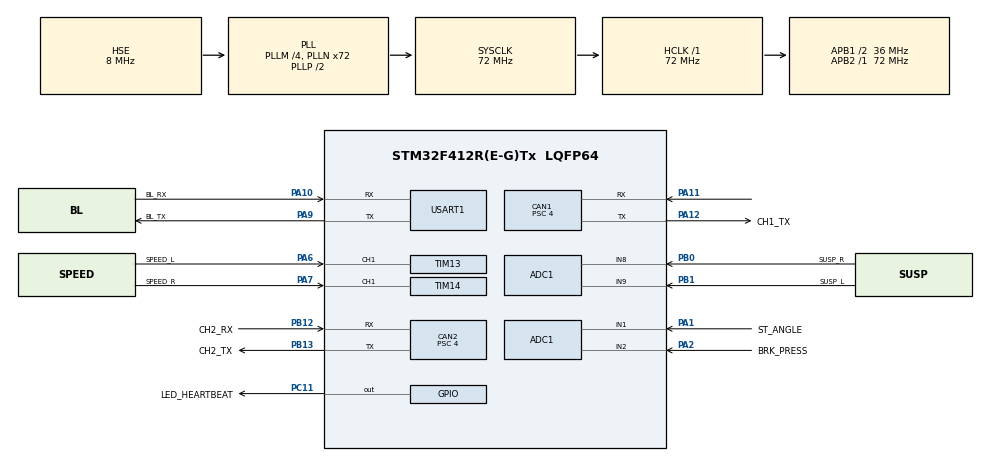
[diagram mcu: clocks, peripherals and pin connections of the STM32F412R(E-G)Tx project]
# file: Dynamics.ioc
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ADC1.Channel-0\#ChannelRegularConversion=ADC_CHANNEL_1
ADC1.Channel-1\#ChannelRegularConversion=ADC_CHANNEL_2
ADC1.Channel-2\#ChannelRegularConversion=ADC_CHANNEL_8
ADC1.Channel-3\#ChannelRegularConversion=ADC_CHANNEL_9
ADC1.ContinuousConvMode=ENABLE
ADC1.DMAContinuousRequests=ENABLE
ADC1.NbrOfConversion=4
ADC1.NbrOfConversionFlag=1
ADC1.Rank-0\#ChannelRegularConversion=1
ADC1.Rank-1\#ChannelRegularConversion=2
ADC1.Rank-2\#ChannelRegularConversion=3
ADC1.Rank-3\#ChannelRegularConversion=4
ADC1.SamplingTime-0\#ChannelRegularConversion=ADC_SAMPLETIME_480CYCLES
ADC1.SamplingTime-1\#ChannelRegularConversion=ADC_SAMPLETIME_480CYCLES
ADC1.SamplingTime-2\#ChannelRegularConversion=ADC_SAMPLETIME_480CYCLES
ADC1.SamplingTime-3\#ChannelRegularConversion=ADC_SAMPLETIME_480CYCLES
ADC1.ScanConvMode=ENABLE
ADC1.master=1
CAN1.ABOM=ENABLE
CAN1.BS1=CAN_BS1_7TQ
CAN1.CalculateBaudRate=1000000
CAN1.CalculateTimeBit=1000
CAN1.CalculateTimeQuantum=111.11111111111111
CAN1.Prescaler=4
CAN2.ABOM=ENABLE
CAN2.BS1=CAN_BS1_7TQ
CAN2.CalculateBaudRate=1000000
CAN2.CalculateTimeBit=1000
CAN2.CalculateTimeQuantum=111.11111111111111
CAN2.Prescaler=4
Dma.ADC1.0.Direction=DMA_PERIPH_TO_MEMORY
Dma.ADC1.0.FIFOMode=DMA_FIFOMODE_DISABLE
Dma.ADC1.0.Instance=DMA2_Stream0
Dma.ADC1.0.MemDataAlignment=DMA_MDATAALIGN_HALFWORD
Dma.ADC1.0.MemInc=DMA_MINC_ENABLE
Dma.ADC1.0.Mode=DMA_CIRCULAR
Dma.ADC1.0.PeriphDataAlignment=DMA_PDATAALIGN_HALFWORD
Dma.ADC1.0.PeriphInc=DMA_PINC_DISABLE
Dma.ADC1.0.Priority=DMA_PRIORITY_LOW
Dma.Request0=ADC1
IWDG.Prescaler=IWDG_PRESCALER_64
IWDG.Reload=1000
Mcu.Family=STM32F4
Mcu.Name=STM32F412R(E-G)Tx
Mcu.Package=LQFP64
NVIC.CAN1_RX0_IRQn=true\:0\:0\:false\:false\:true\:true\:true\:true
NVIC.CAN1_RX1_IRQn=true\:0\:0\:false\:false\:true\:true\:true\:true
NVIC.CAN1_SCE_IRQn=true\:0\:0\:false\:false\:true\:true\:true\:true
NVIC.CAN1_TX_IRQn=true\:0\:0\:false\:false\:true\:true\:true\:true
NVIC.CAN2_RX0_IRQn=true\:0\:0\:false\:false\:true\:true\:true\:true
NVIC.CAN2_RX1_IRQn=true\:0\:0\:false\:false\:true\:true\:true\:true
NVIC.CAN2_SCE_IRQn=true\:0\:0\:false\:false\:true\:true\:true\:true
NVIC.CAN2_TX_IRQn=true\:0\:0\:false\:false\:true\:true\:true\:true
NVIC.DMA2_Stream0_IRQn=true\:0\:0\:false\:false\:true\:false\:true\:true
NVIC.PriorityGroup=NVIC_PRIORITYGROUP_4
NVIC.TIM8_TRG_COM_TIM14_IRQn=true\:0\:0\:false\:false\:true\:true\:true\:true
NVIC.TIM8_UP_TIM13_IRQn=true\:0\:0\:false\:false\:true\:true\:true\:true
PA1.GPIO_Label=ST_ANGLE
PA1.Signal=ADCx_IN1
PA10.GPIO_Label=BL_RX
PA10.Mode=Asynchronous
PA10.Signal=USART1_RX
PA11.GPIO_PuPd=GPIO_PULLUP
PA11.Mode=CAN_Activate
PA11.Signal=CAN1_RX
PA12.GPIO_Label=CH1_TX
PA12.Mode=CAN_Activate
PA12.Signal=CAN1_TX
PA13.Mode=Serial_Wire
PA13.Signal=SYS_JTMS-SWDIO
PA14.Mode=Serial_Wire
PA14.Signal=SYS_JTCK-SWCLK
PA2.GPIO_Label=BRK_PRESS
PA2.Signal=ADCx_IN2
PA6.GPIO_Label=SPEED_L
PA6.Signal=S_TIM13_CH1
PA7.GPIO_Label=SPEED_R
PA7.Signal=S_TIM14_CH1
PA8.GPIO_Label=GPS_SCL
PA8.Signal=I2C3_SCL
PA9.GPIO_Label=BL_TX
PA9.GPIO_ModeDefaultPP=GPIO_MODE_AF_PP
PA9.Mode=Asynchronous
PA9.Signal=USART1_TX
PB0.GPIO_Label=SUSP_R
PB0.Signal=ADCx_IN8
PB1.GPIO_Label=SUSP_L
PB1.Signal=ADCx_IN9
PB10.GPIO_Label=GPS_TX
PB10.Signal=USART3_TX
PB12.GPIO_Label=CH2_RX
PB12.GPIO_PuPd=GPIO_PULLUP
PB12.Mode=CAN_Activate
PB12.Signal=CAN2_RX
PB13.GPIO_Label=CH2_TX
PB13.Mode=CAN_Activate
PB13.Signal=CAN2_TX
PB6.GPIO_Label=EEPROM_SCL
PB6.Signal=I2C1_SCL
PB7.GPIO_Label=EEPROM_SDA
PB7.Signal=I2C1_SDA
PC11.GPIO_Label=LED_HEARTBEAT
PC11.Signal=GPIO_Output
PC5.GPIO_Label=GPS_RX
PC5.Signal=USART3_RX
PC9.GPIO_Label=GPS_SDA
PC9.Signal=I2C3_SDA
PH0\ -\ OSC_IN.Mode=HSE-External-Oscillator
PH0\ -\ OSC_IN.Signal=RCC_OSC_IN
PH1\ -\ OSC_OUT.Mode=HSE-External-Oscillator
PH1\ -\ OSC_OUT.Signal=RCC_OSC_OUT
ProjectManager.HeapSize=0x200
ProjectManager.StackSize=0x400
ProjectManager.TargetToolchain=STM32CubeIDE
RCC.AHBFreq_Value=72000000
RCC.APB1CLKDivider=RCC_HCLK_DIV2
RCC.APB1Freq_Value=36000000
RCC.APB1TimFreq_Value=72000000
RCC.APB2Freq_Value=72000000
RCC.APB2TimFreq_Value=72000000
RCC.CortexFreq_Value=72000000
RCC.HCLKFreq_Value=72000000
RCC.HSE_VALUE=8000000
RCC.PLLM=4
RCC.PLLN=72
RCC.PLLSourceVirtual=RCC_PLLSOURCE_HSE
RCC.SYSCLKFreq_VALUE=72000000
RCC.SYSCLKSource=RCC_SYSCLKSOURCE_PLLCLK
RCC.USBFreq_Value=72000000
RCC.VCOOutputFreq_Value=144000000
SH.ADCx_IN1.0=ADC1_IN1,IN1
SH.ADCx_IN2.0=ADC1_IN2,IN2
SH.ADCx_IN8.0=ADC1_IN8,IN8
SH.ADCx_IN9.0=ADC1_IN9,IN9
SH.S_TIM13_CH1.0=TIM13_CH1,Input_Capture1_from_TI1
SH.S_TIM14_CH1.0=TIM14_CH1,Input_Capture1_from_TI1
TIM13.Channel=TIM_CHANNEL_1
TIM13.ICPolarity_CH1=TIM_INPUTCHANNELPOLARITY_FALLING
TIM13.Prescaler=1143
TIM14.Channel=TIM_CHANNEL_1
TIM14.ICPolarity_CH1=TIM_INPUTCHANNELPOLARITY_FALLING
TIM14.Prescaler=1143
USART1.VirtualMode=VM_ASYNC
VP_IWDG_VS_IWDG.Mode=IWDG_Activate
VP_TIM13_VS_ClockSourceINT.Mode=Enable_Timer
VP_TIM14_VS_ClockSourceINT.Mode=Enable_Timer
board=custom

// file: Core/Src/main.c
/* USER CODE BEGIN Header */
/**
 ******************************************************************************
 * @file           : main.c
 * @brief          : Main program body
 ******************************************************************************
 * @attention
 *
 * Copyright (c) 2025 STMicroelectronics.
 * All rights reserved.
 *
 * This software is licensed under terms that can be found in the LICENSE file
 * in the root directory of this software component.
 * If no LICENSE file comes with this software, it is provided AS-IS.
 *
 ******************************************************************************
 */
/* USER CODE END Header */
#include "main.h"

/* USER CODE BEGIN Includes */

// Dynamics Front or Dynamics Rear?

#define DYNAMICS_FRONT
//#define DYNAMICS_REAR

/************************************************************************/

#include <stdio.h>
#include <math.h>

#define TIMER_FREQ 62937.0f              // 72MHz/(1143+1) = 62.937 kHz
#define Timer_Period (1.0f / TIMER_FREQ) // 1μs
#define MAX_Speed_Measures 10

#define MAX_VALID_PERIOD 65534           // Máximo período válido do timer

/* USER CODE END Includes */

ADC_HandleTypeDef hadc1;
DMA_HandleTypeDef hdma_adc1;

CAN_HandleTypeDef hcan1;
CAN_HandleTypeDef hcan2;

IWDG_HandleTypeDef hiwdg;

TIM_HandleTypeDef htim13;
TIM_HandleTypeDef htim14;

UART_HandleTypeDef huart1;

/* USER CODE BEGIN PV */

// Global Variables
uint32_t blink_time = 100, previus_blink = 0;
uint16_t ADC_VALUE[4];                       // Array for ADC values
uint32_t time_capture_L;                     // Captured value of speed of left wheel
uint32_t time_capture_R;                     // Captured value of speed of right wheel

// Variables for alternated capture control
volatile uint8_t captureState_L = 0, captureState_R = 0;
volatile uint32_t lowPeriod_L = 0, lowPeriod_R = 0;

volatile uint32_t last_capture_time_L = 0;   // Last capture timestamp for left wheel
volatile uint32_t last_capture_time_R = 0;   // Last capture timestamp for right wheel
const uint32_t WHEEL_TIMEOUT_MS = 500;      // Wheel timeout in milliseconds
// Moving Average for ADC
#define ADC_BUFFER_SIZE 50                   // Buffer size for moving average
uint16_t adc_buffers[4][ADC_BUFFER_SIZE];    // Buffer for each ADC channel
uint8_t adc_buffer_index = 0;               // Circular buffer index
uint16_t adc_filtered[4];                   // Filtered values by moving average

// Capture
uint32_t speed_measures_left[MAX_Speed_Measures];  // Vector to store values without filter
uint32_t speed_measures_right[MAX_Speed_Measures]; // Vector to store values without filter
uint32_t posL = 0, posR = 0;                       // Circular index of the array

// CAN
uint32_t can_send_interval = 50;                    // CAN send interval in milliseconds
uint32_t last_can_send = 0;                        // Last CAN send timestamp

CAN_TxHeaderTypeDef TxHeader;
uint8_t TxData[8];
uint32_t TxMailbox;

// Functions
float MeasureSteeringAngle(uint16_t);
float MeasureBrakePressure(uint16_t);
float MeasureSuspensionPosition(uint16_t);
void HAL_TIM_IC_CaptureCallback(TIM_HandleTypeDef *htim);  // Input Capture Callback
void Speed_Measures(void);
float Calculate_Speed_in_Wheel(float,uint32_t);           // Calculate Speed in Wheel
void ADC_UpdateMovingAverage(void);                       // Function to update ADC moving average
float Moving_Average_Filter_Right(void);
float Moving_Average_Filter_Left(void);
void CAN_FilterConfig1(void);
void CAN_FilterConfig2(void);

/* USER CODE END PV */

void SystemClock_Config(void);
static void MX_GPIO_Init(void);
static void MX_DMA_Init(void);
static void MX_ADC1_Init(void);
static void MX_CAN1_Init(void);
static void MX_CAN2_Init(void);
static void MX_TIM13_Init(void);
static void MX_TIM14_Init(void);
static void MX_USART1_UART_Init(void);
static void MX_IWDG_Init(void);
/* USER CODE BEGIN PFP */
int _write(int file, char *data, int len)
{
  HAL_UART_Transmit(&huart1, (uint8_t *)data, len, HAL_MAX_DELAY);
  return len;
}
/* USER CODE END PFP */

int main(void)
{

  /* MCU Configuration--------------------------------------------------------*/

  /* Reset of all peripherals, Initializes the Flash interface and the Systick. */
  HAL_Init();

  /* Configure the system clock */
  SystemClock_Config();

  /* Initialize all configured peripherals */
  MX_GPIO_Init();
  MX_DMA_Init();
  MX_ADC1_Init();
  MX_CAN1_Init();
  MX_CAN2_Init();
  MX_TIM13_Init();
  MX_TIM14_Init();
  MX_USART1_UART_Init();
  MX_IWDG_Init();
  /* USER CODE BEGIN 2 */

  //Watchdog
  if (HAL_IWDG_Init(&hiwdg) != HAL_OK) {
    Error_Handler();
  }
  HAL_ADC_Start_DMA(&hadc1, ADC_VALUE, 4);    // Start ADC DMA for reading values
  // Start Timer Interruptions for Input Captures
  HAL_TIM_IC_Start_IT(&htim13, TIM_CHANNEL_1);
  HAL_TIM_IC_Start_IT(&htim14, TIM_CHANNEL_1);

  // Initialize moving average buffers with zeros
  for (int i = 0; i < 4; i++)
  {
    for (int j = 0; j < ADC_BUFFER_SIZE; j++)
    {
      adc_buffers[i][j] = 0;
    }
    adc_filtered[i] = 0;
  }

  /* USER CODE END 2 */

  /* Infinite loop */
  while (1)
  {

    /* USER CODE BEGIN 3 */
    //WatchDog
    HAL_IWDG_Refresh(&hiwdg);

    // LED HEARTBEAT
    int32_t current_time = HAL_GetTick();
    if ((current_time - previus_blink) >= blink_time)
    {
      previus_blink = current_time;
      HAL_GPIO_TogglePin(LED_HEARTBEAT_GPIO_Port, LED_HEARTBEAT_Pin);
    }
    // LED HEARTBEAT END

    // Update ADC moving averages
    ADC_UpdateMovingAverage();

// ADC VARIABLES
#ifdef DYNAMICS_FRONT
    uint16_t adcST_Angle = adc_filtered[0];         // Steering Angle (Only Dynamics Front) - Filtered
#endif
#ifdef DYNAMICS_REAR
    uint16_t adcBRK_PRESS = adc_filtered[1];        // Brake Pressure (Only Dynamics Rear) - Filtered
#endif
    uint16_t adcSuspL = adc_filtered[2];            // Suspension Left - Filtered
    uint16_t adcSuspR = adc_filtered[3];            // Suspension Right - Filtered

// Steering Angle
#ifdef DYNAMICS_FRONT
    float ST_ANGLE;
    ST_ANGLE=MeasureSteeringAngle(adcST_Angle);
#endif
// End Steering Angle

// Brake Pressure
#ifdef DYNAMICS_REAR
    float BRK_PRESS;
    BRK_PRESS = MeasureBrakePressure(adcBRK_PRESS);
#endif
    // End Brake Pressure

    // Suspension Right
    float SUSP_R;
    SUSP_R = MeasureSuspensionPosition(adcSuspR);
    // End Suspension Right

    // Suspension Left
    float SUSP_L;
    SUSP_L = MeasureSuspensionPosition(adcSuspL);
    // End Suspension Left

    // Input Capture processing starts here
    float filtered_time_left, filtered_time_right;
    float speed_km_left, speed_km_right;
    Speed_Measures();
    filtered_time_left = Moving_Average_Filter_Left();
    filtered_time_right = Moving_Average_Filter_Right();
    float time_R = filtered_time_right * Timer_Period;
    float time_L = filtered_time_left * Timer_Period;
    speed_km_left = Calculate_Speed_in_Wheel(time_L, last_capture_time_L);
    speed_km_right = Calculate_Speed_in_Wheel(time_R, last_capture_time_R);
    if (speed_km_left < 0.1f) speed_km_left = 0.0f;
    if (speed_km_right < 0.1f) speed_km_right = 0.0f;

// Input Capture processing ends here

// CAN communication starts here
#ifdef DYNAMICS_FRONT
    uint32_t now = HAL_GetTick();
    if ((now - last_can_send) >= can_send_interval)
    {
      last_can_send = now;

      int16_t angle = (int16_t)(ST_ANGLE * 10);
      uint16_t susp_r = (uint16_t)(SUSP_R * 10);
      uint16_t susp_l = (uint16_t)(SUSP_L * 10);
      uint16_t spd_left = (uint16_t)(speed_km_left * 10);
      uint16_t spd_right = (uint16_t)(speed_km_right * 10);

      TxHeader.IDE = CAN_ID_STD;
      TxHeader.StdId = 0x446;                       // Confirm ID
      TxHeader.RTR = CAN_RTR_DATA;
      TxHeader.DLC = 6;

      TxData[0] = angle & 0xFF;                     // Least significant byte first
      TxData[1] = (angle >> 8) & 0xFF;              // Most significant byte
      TxData[2] = susp_r & 0xFF;
      TxData[3] = (susp_r >> 8) & 0xFF;
      TxData[4] = susp_l & 0xFF;
      TxData[5] = (susp_l >> 8) & 0xFF;

      if (HAL_CAN_AddTxMessage(&hcan1, &TxHeader, TxData, &TxMailbox) != HAL_OK)
      {
        Error_Handler();
      }
      if (HAL_CAN_AddTxMessage(&hcan2, &TxHeader, TxData, &TxMailbox) != HAL_OK)
      {
        Error_Handler();
      }

      TxHeader.StdId = 0x456;
      TxHeader.DLC = 4;

      TxData[0] = spd_left & 0xFF;
      TxData[1] = (spd_left >> 8) & 0xFF;
      TxData[2] = spd_right & 0xFF;
      TxData[3] = (spd_right >> 8) & 0xFF;

      if (HAL_CAN_AddTxMessage(&hcan1, &TxHeader, TxData, &TxMailbox) != HAL_OK)
      {
        Error_Handler();
      }
      if (HAL_CAN_AddTxMessage(&hcan2, &TxHeader, TxData, &TxMailbox) != HAL_OK)
      {
        Error_Handler();
      }
    }

#endif

#ifdef DYNAMICS_REAR
    uint32_t now = HAL_GetTick();
    if ((now - last_can_send) >= can_send_interval)
    {
      last_can_send = now;

      uint16_t brake = (uint16_t)(BRK_PRESS * 10);
      uint16_t susp_r = (uint16_t)(SUSP_R * 10);
      uint16_t susp_l = (uint16_t)(SUSP_L * 10);
      uint16_t spd_left = (uint16_t)(speed_km_left * 10);
      uint16_t spd_right = (uint16_t)(speed_km_right * 10);

      TxHeader.IDE = CAN_ID_STD;
      TxHeader.StdId = 0x546;                       // Confirm ID
      TxHeader.RTR = CAN_RTR_DATA;
      TxHeader.DLC = 6;

      TxData[0] = brake & 0xFF;                     // Least significant byte first
      TxData[1] = (brake >> 8) & 0xFF;              // Most significant byte
      TxData[2] = susp_r & 0xFF;
      TxData[3] = (susp_r >> 8) & 0xFF;
      TxData[4] = susp_l & 0xFF;
      TxData[5] = (susp_l >> 8) & 0xFF;

      if (HAL_CAN_AddTxMessage(&hcan1, &TxHeader, TxData, &TxMailbox) != HAL_OK)
      {
        Error_Handler();
      }
      if (HAL_CAN_AddTxMessage(&hcan2, &TxHeader, TxData, &TxMailbox) != HAL_OK)
      {
        Error_Handler();
      }

      TxHeader.StdId = 0x556;
      TxHeader.DLC = 4;

      TxData[0] = spd_left & 0xFF;
      TxData[1] = (spd_left >> 8) & 0xFF;
      TxData[2] = spd_right & 0xFF;
      TxData[3] = (spd_right >> 8) & 0xFF;

      if (HAL_CAN_AddTxMessage(&hcan1, &TxHeader, TxData, &TxMailbox) != HAL_OK)
      {
        Error_Handler();
      }
      if (HAL_CAN_AddTxMessage(&hcan2, &TxHeader, TxData, &TxMailbox) != HAL_OK)
      {
        Error_Handler();
      }
    }

#endif
// CAN communication ends here

// Bluetooth messages
static uint32_t last_debug_time = 0;
uint32_t current_debug_time = HAL_GetTick();

// Imprimir apenas a cada 500ms
if ((current_debug_time - last_debug_time) >= 500) {
    last_debug_time = current_debug_time;

    #ifdef DYNAMICS_FRONT
    printf("Steering Angle: %.2f ADC: %u \n", ST_ANGLE, adcST_Angle);
    #endif
    #ifdef DYNAMICS_REAR
    printf("Pressure Brake %.2f bar  ADC: %u \n", BRK_PRESS, adcBRK_PRESS);
    #endif
    printf("Susp R: %.2fmm Susp L: %.2fmm\n", SUSP_R, SUSP_L);
    printf("Speed L: %.2f Speed R: %.2f km/h\n", speed_km_left, speed_km_right);
}

    // Bluetooth messages end
  }
  /* USER CODE END 3 */
}

void SystemClock_Config(void)
{
  RCC_OscInitTypeDef RCC_OscInitStruct = {0};
  RCC_ClkInitTypeDef RCC_ClkInitStruct = {0};

  /** Configure the main internal regulator output voltage
  */
  __HAL_RCC_PWR_CLK_ENABLE();
  __HAL_PWR_VOLTAGESCALING_CONFIG(PWR_REGULATOR_VOLTAGE_SCALE1);

  /** Initializes the RCC Oscillators according to the specified parameters
  * in the RCC_OscInitTypeDef structure.
  */
  RCC_OscInitStruct.OscillatorType = RCC_OSCILLATORTYPE_LSI|RCC_OSCILLATORTYPE_HSE;
  RCC_OscInitStruct.HSEState = RCC_HSE_ON;
  RCC_OscInitStruct.LSIState = RCC_LSI_ON;
  RCC_OscInitStruct.PLL.PLLState = RCC_PLL_ON;
  RCC_OscInitStruct.PLL.PLLSource = RCC_PLLSOURCE_HSE;
  RCC_OscInitStruct.PLL.PLLM = 4;
  RCC_OscInitStruct.PLL.PLLN = 72;
  RCC_OscInitStruct.PLL.PLLP = RCC_PLLP_DIV2;
  RCC_OscInitStruct.PLL.PLLQ = 2;
  RCC_OscInitStruct.PLL.PLLR = 2;
  if (HAL_RCC_OscConfig(&RCC_OscInitStruct) != HAL_OK)
  {
    Error_Handler();
  }

  /** Initializes the CPU, AHB and APB buses clocks
  */
  RCC_ClkInitStruct.ClockType = RCC_CLOCKTYPE_HCLK|RCC_CLOCKTYPE_SYSCLK
                              |RCC_CLOCKTYPE_PCLK1|RCC_CLOCKTYPE_PCLK2;
  RCC_ClkInitStruct.SYSCLKSource = RCC_SYSCLKSOURCE_PLLCLK;
  RCC_ClkInitStruct.AHBCLKDivider = RCC_SYSCLK_DIV1;
  RCC_ClkInitStruct.APB1CLKDivider = RCC_HCLK_DIV2;
  RCC_ClkInitStruct.APB2CLKDivider = RCC_HCLK_DIV1;

  if (HAL_RCC_ClockConfig(&RCC_ClkInitStruct, FLASH_LATENCY_2) != HAL_OK)
  {
    Error_Handler();
  }
}

static void MX_ADC1_Init(void)
{

  ADC_ChannelConfTypeDef sConfig = {0};

  /** Configure the global features of the ADC (Clock, Resolution, Data Alignment and number of conversion)
  */
  hadc1.Instance = ADC1;
  hadc1.Init.ClockPrescaler = ADC_CLOCK_SYNC_PCLK_DIV2;
  hadc1.Init.Resolution = ADC_RESOLUTION_12B;
  hadc1.Init.ScanConvMode = ENABLE;
  hadc1.Init.ContinuousConvMode = ENABLE;
  hadc1.Init.DiscontinuousConvMode = DISABLE;
  hadc1.Init.ExternalTrigConvEdge = ADC_EXTERNALTRIGCONVEDGE_NONE;
  hadc1.Init.ExternalTrigConv = ADC_SOFTWARE_START;
  hadc1.Init.DataAlign = ADC_DATAALIGN_RIGHT;
  hadc1.Init.NbrOfConversion = 4;
  hadc1.Init.DMAContinuousRequests = ENABLE;
  hadc1.Init.EOCSelection = ADC_EOC_SINGLE_CONV;
  if (HAL_ADC_Init(&hadc1) != HAL_OK)
  {
    Error_Handler();
  }

  /** Configure for the selected ADC regular channel its corresponding rank in the sequencer and its sample time.
  */
  sConfig.Channel = ADC_CHANNEL_1;
  sConfig.Rank = 1;
  sConfig.SamplingTime = ADC_SAMPLETIME_480CYCLES;
  if (HAL_ADC_ConfigChannel(&hadc1, &sConfig) != HAL_OK)
  {
    Error_Handler();
  }

  /** Configure for the selected ADC regular channel its corresponding rank in the sequencer and its sample time.
  */
  sConfig.Channel = ADC_CHANNEL_2;
  sConfig.Rank = 2;
  if (HAL_ADC_ConfigChannel(&hadc1, &sConfig) != HAL_OK)
  {
    Error_Handler();
  }

  /** Configure for the selected ADC regular channel its corresponding rank in the sequencer and its sample time.
  */
  sConfig.Channel = ADC_CHANNEL_8;
  sConfig.Rank = 3;
  if (HAL_ADC_ConfigChannel(&hadc1, &sConfig) != HAL_OK)
  {
    Error_Handler();
  }

  /** Configure for the selected ADC regular channel its corresponding rank in the sequencer and its sample time.
  */
  sConfig.Channel = ADC_CHANNEL_9;
  sConfig.Rank = 4;
  if (HAL_ADC_ConfigChannel(&hadc1, &sConfig) != HAL_OK)
  {
    Error_Handler();
  }

}

static void MX_CAN1_Init(void)
{

  hcan1.Instance = CAN1;
  hcan1.Init.Prescaler = 4;
  hcan1.Init.Mode = CAN_MODE_NORMAL;
  hcan1.Init.SyncJumpWidth = CAN_SJW_1TQ;
  hcan1.Init.TimeSeg1 = CAN_BS1_7TQ;
  hcan1.Init.TimeSeg2 = CAN_BS2_1TQ;
  hcan1.Init.TimeTriggeredMode = DISABLE;
  hcan1.Init.AutoBusOff = ENABLE;
  hcan1.Init.AutoWakeUp = DISABLE;
  hcan1.Init.AutoRetransmission = DISABLE;
  hcan1.Init.ReceiveFifoLocked = DISABLE;
  hcan1.Init.TransmitFifoPriority = DISABLE;
  if (HAL_CAN_Init(&hcan1) != HAL_OK)
  {
    Error_Handler();
  }
  /* USER CODE BEGIN CAN1_Init 2 */
  CAN_FilterConfig1();
  if (HAL_CAN_Start(&hcan1) != HAL_OK)
  {
    Error_Handler();
  }
  /* USER CODE END CAN1_Init 2 */

}

static void MX_CAN2_Init(void)
{

  hcan2.Instance = CAN2;
  hcan2.Init.Prescaler = 4;
  hcan2.Init.Mode = CAN_MODE_NORMAL;
  hcan2.Init.SyncJumpWidth = CAN_SJW_1TQ;
  hcan2.Init.TimeSeg1 = CAN_BS1_7TQ;
  hcan2.Init.TimeSeg2 = CAN_BS2_1TQ;
  hcan2.Init.TimeTriggeredMode = DISABLE;
  hcan2.Init.AutoBusOff = ENABLE;
  hcan2.Init.AutoWakeUp = DISABLE;
  hcan2.Init.AutoRetransmission = DISABLE;
  hcan2.Init.ReceiveFifoLocked = DISABLE;
  hcan2.Init.TransmitFifoPriority = DISABLE;
  if (HAL_CAN_Init(&hcan2) != HAL_OK)
  {
    Error_Handler();
  }
  /* USER CODE BEGIN CAN2_Init 2 */
  CAN_FilterConfig2();
  if (HAL_CAN_Start(&hcan2) != HAL_OK)
  {
    Error_Handler();
  }
  /* USER CODE END CAN2_Init 2 */

}

static void MX_IWDG_Init(void)
{

  hiwdg.Instance = IWDG;
  hiwdg.Init.Prescaler = IWDG_PRESCALER_64;
  hiwdg.Init.Reload = 1000;
  if (HAL_IWDG_Init(&hiwdg) != HAL_OK)
  {
    Error_Handler();
  }

}

static void MX_TIM13_Init(void)
{

  TIM_IC_InitTypeDef sConfigIC = {0};

  htim13.Instance = TIM13;
  htim13.Init.Prescaler = 1143;
  htim13.Init.CounterMode = TIM_COUNTERMODE_UP;
  htim13.Init.Period = 65535;
  htim13.Init.ClockDivision = TIM_CLOCKDIVISION_DIV1;
  htim13.Init.AutoReloadPreload = TIM_AUTORELOAD_PRELOAD_DISABLE;
  if (HAL_TIM_Base_Init(&htim13) != HAL_OK)
  {
    Error_Handler();
  }
  if (HAL_TIM_IC_Init(&htim13) != HAL_OK)
  {
    Error_Handler();
  }
  sConfigIC.ICPolarity = TIM_INPUTCHANNELPOLARITY_FALLING;
  sConfigIC.ICSelection = TIM_ICSELECTION_DIRECTTI;
  sConfigIC.ICPrescaler = TIM_ICPSC_DIV1;
  sConfigIC.ICFilter = 0;
  if (HAL_TIM_IC_ConfigChannel(&htim13, &sConfigIC, TIM_CHANNEL_1) != HAL_OK)
  {
    Error_Handler();
  }

}

static void MX_TIM14_Init(void)
{

  TIM_IC_InitTypeDef sConfigIC = {0};

  htim14.Instance = TIM14;
  htim14.Init.Prescaler = 1143;
  htim14.Init.CounterMode = TIM_COUNTERMODE_UP;
  htim14.Init.Period = 65535;
  htim14.Init.ClockDivision = TIM_CLOCKDIVISION_DIV1;
  htim14.Init.AutoReloadPreload = TIM_AUTORELOAD_PRELOAD_DISABLE;
  if (HAL_TIM_Base_Init(&htim14) != HAL_OK)
  {
    Error_Handler();
  }
  if (HAL_TIM_IC_Init(&htim14) != HAL_OK)
  {
    Error_Handler();
  }
  sConfigIC.ICPolarity = TIM_INPUTCHANNELPOLARITY_FALLING;
  sConfigIC.ICSelection = TIM_ICSELECTION_DIRECTTI;
  sConfigIC.ICPrescaler = TIM_ICPSC_DIV1;
  sConfigIC.ICFilter = 0;
  if (HAL_TIM_IC_ConfigChannel(&htim14, &sConfigIC, TIM_CHANNEL_1) != HAL_OK)
  {
    Error_Handler();
  }

}

static void MX_USART1_UART_Init(void)
{

  huart1.Instance = USART1;
  huart1.Init.BaudRate = 115200;
  huart1.Init.WordLength = UART_WORDLENGTH_8B;
  huart1.Init.StopBits = UART_STOPBITS_1;
  huart1.Init.Parity = UART_PARITY_NONE;
  huart1.Init.Mode = UART_MODE_TX_RX;
  huart1.Init.HwFlowCtl = UART_HWCONTROL_NONE;
  huart1.Init.OverSampling = UART_OVERSAMPLING_16;
  if (HAL_UART_Init(&huart1) != HAL_OK)
  {
    Error_Handler();
  }

}

static void MX_DMA_Init(void)
{

  /* DMA controller clock enable */
  __HAL_RCC_DMA2_CLK_ENABLE();

  /* DMA interrupt init */
  /* DMA2_Stream0_IRQn interrupt configuration */
  HAL_NVIC_SetPriority(DMA2_Stream0_IRQn, 0, 0);
  HAL_NVIC_EnableIRQ(DMA2_Stream0_IRQn);

}

static void MX_GPIO_Init(void)
{
  GPIO_InitTypeDef GPIO_InitStruct = {0};

  /* GPIO Ports Clock Enable */
  __HAL_RCC_GPIOH_CLK_ENABLE();
  __HAL_RCC_GPIOA_CLK_ENABLE();
  __HAL_RCC_GPIOC_CLK_ENABLE();
  __HAL_RCC_GPIOB_CLK_ENABLE();

  /*Configure GPIO pin Output Level */
  HAL_GPIO_WritePin(LED_HEARTBEAT_GPIO_Port, LED_HEARTBEAT_Pin, GPIO_PIN_RESET);

  /*Configure GPIO pin : GPS_RX_Pin */
  GPIO_InitStruct.Pin = GPS_RX_Pin;
  GPIO_InitStruct.Mode = GPIO_MODE_AF_PP;
  GPIO_InitStruct.Pull = GPIO_NOPULL;
  GPIO_InitStruct.Speed = GPIO_SPEED_FREQ_VERY_HIGH;
  GPIO_InitStruct.Alternate = GPIO_AF7_USART3;
  HAL_GPIO_Init(GPS_RX_GPIO_Port, &GPIO_InitStruct);

  /*Configure GPIO pin : GPS_TX_Pin */
  GPIO_InitStruct.Pin = GPS_TX_Pin;
  GPIO_InitStruct.Mode = GPIO_MODE_AF_PP;
  GPIO_InitStruct.Pull = GPIO_NOPULL;
  GPIO_InitStruct.Speed = GPIO_SPEED_FREQ_VERY_HIGH;
  GPIO_InitStruct.Alternate = GPIO_AF7_USART3;
  HAL_GPIO_Init(GPS_TX_GPIO_Port, &GPIO_InitStruct);

  /*Configure GPIO pin : GPS_SDA_Pin */
  GPIO_InitStruct.Pin = GPS_SDA_Pin;
  GPIO_InitStruct.Mode = GPIO_MODE_AF_OD;
  GPIO_InitStruct.Pull = GPIO_NOPULL;
  GPIO_InitStruct.Speed = GPIO_SPEED_FREQ_VERY_HIGH;
  GPIO_InitStruct.Alternate = GPIO_AF4_I2C3;
  HAL_GPIO_Init(GPS_SDA_GPIO_Port, &GPIO_InitStruct);

  /*Configure GPIO pin : GPS_SCL_Pin */
  GPIO_InitStruct.Pin = GPS_SCL_Pin;
  GPIO_InitStruct.Mode = GPIO_MODE_AF_OD;
  GPIO_InitStruct.Pull = GPIO_NOPULL;
  GPIO_InitStruct.Speed = GPIO_SPEED_FREQ_VERY_HIGH;
  GPIO_InitStruct.Alternate = GPIO_AF4_I2C3;
  HAL_GPIO_Init(GPS_SCL_GPIO_Port, &GPIO_InitStruct);

  /*Configure GPIO pin : LED_HEARTBEAT_Pin */
  GPIO_InitStruct.Pin = LED_HEARTBEAT_Pin;
  GPIO_InitStruct.Mode = GPIO_MODE_OUTPUT_PP;
  GPIO_InitStruct.Pull = GPIO_NOPULL;
  GPIO_InitStruct.Speed = GPIO_SPEED_FREQ_LOW;
  HAL_GPIO_Init(LED_HEARTBEAT_GPIO_Port, &GPIO_InitStruct);

  /*Configure GPIO pins : EEPROM_SCL_Pin EEPROM_SDA_Pin */
  GPIO_InitStruct.Pin = EEPROM_SCL_Pin|EEPROM_SDA_Pin;
  GPIO_InitStruct.Mode = GPIO_MODE_AF_OD;
  GPIO_InitStruct.Pull = GPIO_NOPULL;
  GPIO_InitStruct.Speed = GPIO_SPEED_FREQ_VERY_HIGH;
  GPIO_InitStruct.Alternate = GPIO_AF4_I2C1;
  HAL_GPIO_Init(GPIOB, &GPIO_InitStruct);

}

/* USER CODE BEGIN 4 */
float MeasureSteeringAngle(uint16_t bits)
{
// Constants and variables
  const float ADC_MAX = 4095.0f;
  const float MCU_VREF = 3.3f;                    // MCU reference voltage
  const float SENSOR_VREF_Max = 4.5f;             // Maximum sensor reference voltage
  const float SENSOR_VREF_Min = 0.5f;             // Minimum sensor reference voltage
  const float Resolution = 180.0f;                // Resolution of sensor -180 to 180
  const float OFFSET = -31.3f;                    // In case of mechanical problems, put offset angle

  // Calculate Function Slope
  float max_v = SENSOR_VREF_Max * (2.0f/3.0f);
  float min_v = SENSOR_VREF_Min * (2.0f/3.0f);
  float inclination = 360.0f / (max_v - min_v);

  // Calculate Steering Angle
  float V_STA = (MCU_VREF * bits) / ADC_MAX;
  float ST_Angle = inclination * V_STA - 45 - Resolution;

  // If necessary add OFFSET
  ST_Angle += OFFSET;
  return ST_Angle;
}

float MeasureBrakePressure(uint16_t bits)
{
  // Constants for clarity
  const float ADC_MAX = 4095.0f;
  const float MCU_VREF = 3.3f;            // MCU reference voltage
  const float SENSOR_VREF = 5.0f;         // Sensor reference voltage
  const float CONVERSION_FACTOR = 0.667f; // Factor to convert 3.3V to 5V scale
  const float OFFSET_VOLTAGE = 0.5f;      // 0 bar = 0.5V
  const float SENSITIVITY = 0.02857f;     // 28.57mV/bar

  // Calculate voltage from ADC reading (0-3.3V range)
  float volts = (float)bits * MCU_VREF / ADC_MAX;

  // Scale to sensor voltage range (0-5V)
  volts = volts / CONVERSION_FACTOR;

  // Apply boundary checking for voltage
  if (volts < 0.0f)
  {
    volts = 0.0f;
  }
  else if (volts > SENSOR_VREF)
  {
    volts = SENSOR_VREF;
  }

  // Calculate pressure from voltage using calibration formula:
  // P(bar) = (V - 0.5V) / 0.02857V/bar
  float pressure = 0.0f;
  if (volts <= OFFSET_VOLTAGE)
  {
    pressure = 0.0f; // Anything below offset voltage is 0 bar
  }
  else
  {
    pressure = (volts - OFFSET_VOLTAGE) / SENSITIVITY;
  }

  // Limit maximum pressure if needed
  const float MAX_PRESSURE = 140.0f; // Maximum measurable pressure
  if (pressure > MAX_PRESSURE)
  {
    pressure = MAX_PRESSURE;
  }

  return pressure; // Return the brake pressure in bar
}

float MeasureSuspensionPosition(uint16_t bits)
{
  // Constants and Variables
  float V_SUSP;                                    // Voltage Signal from sensor
  float sensor_voltage = 5;                       // MAX Voltage level from sensor
  float MCU_voltage = 3.3;                        // MAX MCU voltage level
  float Electrical_stroke = 75;                   // mm
  float SUSPENSION_POSITION;                      // Suspension level in mm
  float Conversion_Factor = MCU_voltage / sensor_voltage;
  float volts;                                    // converted voltage
  // Calculate Voltage from ADC
  V_SUSP = (MCU_voltage * bits) / 4095;
  volts = V_SUSP / Conversion_Factor;
  // Calculate Position
  SUSPENSION_POSITION = (Electrical_stroke * volts) / sensor_voltage;

  return SUSPENSION_POSITION;                     // return suspension level in millimeters
}

/**
 * @brief  Updates the moving average for all ADC channels
 * @retval None
 */
void ADC_UpdateMovingAverage(void)
{
  // For each ADC channel
  for (int channel = 0; channel < 4; channel++)
  {
    // Add the new value to the circular buffer
    adc_buffers[channel][adc_buffer_index] = ADC_VALUE[channel];

    // Calculate sum of all values in the buffer
    uint32_t sum = 0;
    for (int i = 0; i < ADC_BUFFER_SIZE; i++)
    {
      sum += adc_buffers[channel][i];
    }

    // Calculate average and update the filtered value
    adc_filtered[channel] = (uint16_t)(sum / ADC_BUFFER_SIZE);
  }

  // Update circular index
  adc_buffer_index = (adc_buffer_index + 1) % ADC_BUFFER_SIZE;
}

/**
 * @brief  Timer Input Capture Callback - Handles wheel speed sensor pulses
 * @param  htim: Timer handle that triggered the interrupt
 * @note   This function processes falling edge pulses from wheel speed sensors
 *         TIM13 - Left wheel speed sensor (Hall sensor or encoder)
 *         TIM14 - Right wheel speed sensor (Hall sensor or encoder)
 * @retval None
 */
void HAL_TIM_IC_CaptureCallback(TIM_HandleTypeDef *htim)
{
  static uint32_t lastCapture_L = 0;               // Previous capture value for left wheel
  static uint32_t lastCapture_R = 0;               // Previous capture value for right wheel
  static uint8_t firstCapture_L = 1;               // Flag for first capture on left wheel
  static uint8_t firstCapture_R = 1;               // Flag for first capture on right wheel

  // Left wheel speed sensor processing (TIM13)
  if (htim->Instance == TIM13 && htim->Channel == HAL_TIM_ACTIVE_CHANNEL_1)
  {
    uint32_t currentCapture = HAL_TIM_ReadCapturedValue(htim, TIM_CHANNEL_1);
    uint32_t calculated_period;

    // Update timestamp for timeout detection
    last_capture_time_L = HAL_GetTick();

    // Handle first capture - just store the value for reference
    if (firstCapture_L)
    {
      lastCapture_L = currentCapture;
      firstCapture_L = 0;
      time_capture_L = 0;                          // No valid period yet
    }
    else
    {
      // Calculate period between consecutive pulses
      // Handle timer overflow case (16-bit timer with 65535 max value)
      if (currentCapture >= lastCapture_L)
      {
        calculated_period = currentCapture - lastCapture_L;
      }
      else
      {
        // Timer overflow occurred
        calculated_period = (65535 - lastCapture_L) + currentCapture + 1;
      }

      // Validate period is within acceptable range
      if (calculated_period > 0 && calculated_period <= MAX_VALID_PERIOD)
      {
        time_capture_L = calculated_period;        // Store valid period
      }
      else
      {
        time_capture_L = 0;                        // Invalid period, likely noise
      }

      lastCapture_L = currentCapture;              // Update reference for next capture
    }
  }

  // Right wheel speed sensor processing (TIM14)
  else if (htim->Instance == TIM14 && htim->Channel == HAL_TIM_ACTIVE_CHANNEL_1)
  {
    uint32_t currentCapture = HAL_TIM_ReadCapturedValue(htim, TIM_CHANNEL_1);
    uint32_t calculated_period;

    // Update timestamp for timeout detection
    last_capture_time_R = HAL_GetTick();

    // Handle first capture - just store the value for reference
    if (firstCapture_R)
    {
      lastCapture_R = currentCapture;
      firstCapture_R = 0;
      time_capture_R = 0;                          // No valid period yet
    }
    else
    {
      // Calculate period between consecutive pulses
      // Handle timer overflow case (16-bit timer with 65535 max value)
      if (currentCapture >= lastCapture_R)
      {
        calculated_period = currentCapture - lastCapture_R;
      }
      else
      {
        // Timer overflow occurred
        calculated_period = (65535 - lastCapture_R) + currentCapture + 1;
      }

      // Validate period is within acceptable range
      if (calculated_period > 0 && calculated_period <= MAX_VALID_PERIOD)
      {
        time_capture_R = calculated_period;        // Store valid period
      }
      else
      {
        time_capture_R = 0;                        // Invalid period, likely noise
      }

      lastCapture_R = currentCapture;              // Update reference for next capture
    }
  }
}

void Speed_Measures()
{
  speed_measures_left[posL] = time_capture_L;
  speed_measures_right[posR] = time_capture_R;
  posL = (posL + 1) % MAX_Speed_Measures;
  posR = (posR + 1) % MAX_Speed_Measures;
}
float Moving_Average_Filter_Left(void)
{
  uint32_t sum = 0;
  float filtered_speed_left;
  for (int i = 0; i < MAX_Speed_Measures; i++)
  {
    sum += speed_measures_left[i];
  }
  filtered_speed_left = sum / MAX_Speed_Measures;
  return filtered_speed_left;
}
float Moving_Average_Filter_Right(void)
{
  uint32_t sum = 0;
  float filtered_speed_right;
  for (int i = 0; i < MAX_Speed_Measures; i++)
  {
    sum += speed_measures_right[i];
  }
  filtered_speed_right = sum / MAX_Speed_Measures;
  return filtered_speed_right;
}
float Calculate_Speed_in_Wheel(float time, uint32_t last_capture_time)
{
  // Constants and Variables
  const int teeth = 36;                            // Number of teeth in CogWheel
  const float inches_diameter = 20.5;              // Diameter of Wheels in inches
  const float diameter = 25.4 * inches_diameter;   // Diameter of Wheels in mm
  const float perimeter = diameter * 3.141592;     // Perimeter of wheel in mm
  const float perimeter_m = perimeter / 1000.0f;   // Perimeter in Meters

  uint32_t current_time = HAL_GetTick();
  if ((current_time - last_capture_time) > WHEEL_TIMEOUT_MS)
  {
    return 0.0f;                                   // Wheel stopped by timeout
  }

   if (time <= 0)
  {
    return 0.0f;                                   // Stopped Wheel
  }

  // Calculate Frequency
  float frequency = 1.0f / time;                   // Hz

  // Calculate Wheel RPM
  float wheel_rpm = (frequency * 60) / teeth;

  // Calculate Speed
  float speed_km_per_hour = (perimeter_m * wheel_rpm) * 0.06;

  return speed_km_per_hour;                        // Return value of Speed in Km/h
}

void CAN_FilterConfig1()
{
#ifdef DYNAMICS_FRONT
  CAN_FilterTypeDef canfilterconfig;

  // Filter for 0x446
  canfilterconfig.FilterActivation = CAN_FILTER_ENABLE;
  canfilterconfig.FilterBank = 0;                  // which filter bank to use from the assigned ones
  canfilterconfig.FilterFIFOAssignment = CAN_FILTER_FIFO0;
  canfilterconfig.FilterIdHigh = 0x446 << 5;
  canfilterconfig.FilterIdLow = 0;
  canfilterconfig.FilterMaskIdHigh = 0x446 << 5;
  canfilterconfig.FilterMaskIdLow = 0x0000;
  canfilterconfig.FilterMode = CAN_FILTERMODE_IDMASK;
  canfilterconfig.FilterScale = CAN_FILTERSCALE_32BIT;
  canfilterconfig.SlaveStartFilterBank = 18;       // how many filters to assign to the CAN1 (master can)

  HAL_CAN_ConfigFilter(&hcan1, &canfilterconfig);

  // Filter for 0x456
   canfilterconfig.FilterBank = 1;
  canfilterconfig.FilterIdHigh = 0x456 << 5;
  canfilterconfig.FilterMaskIdHigh = 0x7FF << 5;
  HAL_CAN_ConfigFilter(&hcan1, &canfilterconfig);

#endif

#ifdef DYNAMICS_REAR
  CAN_FilterTypeDef canfilterconfig;

  // Filter for 0x546
  canfilterconfig.FilterActivation = CAN_FILTER_ENABLE;
  canfilterconfig.FilterBank = 0;                  // which filter bank to use from the assigned ones
  canfilterconfig.FilterFIFOAssignment = CAN_FILTER_FIFO0;
  canfilterconfig.FilterIdHigh = 0x546 << 5;
  canfilterconfig.FilterIdLow = 0;
  canfilterconfig.FilterMaskIdHigh = 0x546 << 5;
  canfilterconfig.FilterMaskIdLow = 0x0000;
  canfilterconfig.FilterMode = CAN_FILTERMODE_IDMASK;
  canfilterconfig.FilterScale = CAN_FILTERSCALE_32BIT;
  canfilterconfig.SlaveStartFilterBank = 18;       // how many filters to assign to the CAN1 (master can)

  HAL_CAN_ConfigFilter(&hcan1, &canfilterconfig);

  // Filter for 0x556
   canfilterconfig.FilterBank = 1;
  canfilterconfig.FilterIdHigh = 0x556 << 5;
  canfilterconfig.FilterMaskIdHigh = 0x7FF << 5;
  HAL_CAN_ConfigFilter(&hcan1, &canfilterconfig);
#endif
}
void CAN_FilterConfig2()
{
#ifdef DYNAMICS_FRONT
  CAN_FilterTypeDef canfilterconfig;

  // Filter for 0x446
  canfilterconfig.FilterActivation = CAN_FILTER_ENABLE;
  canfilterconfig.FilterBank = 18;                 // which filter bank to use from the assigned ones
  canfilterconfig.FilterFIFOAssignment = CAN_FILTER_FIFO0;
  canfilterconfig.FilterIdHigh = 0x446 << 5;
  canfilterconfig.FilterIdLow = 0;
  canfilterconfig.FilterMaskIdHigh = 0x446 << 5;
  canfilterconfig.FilterMaskIdLow = 0x0000;
  canfilterconfig.FilterMode = CAN_FILTERMODE_IDMASK;
  canfilterconfig.FilterScale = CAN_FILTERSCALE_32BIT;

  HAL_CAN_ConfigFilter(&hcan2, &canfilterconfig);

  // Filter for 0x456
  canfilterconfig.FilterBank = 19;                 // Different bank for CAN2
  canfilterconfig.FilterIdHigh = 0x456 << 5;
  canfilterconfig.FilterMaskIdHigh = 0x7FF << 5;
  HAL_CAN_ConfigFilter(&hcan2, &canfilterconfig);
#endif
#ifdef DYNAMICS_REAR
  CAN_FilterTypeDef canfilterconfig;

  // Filter for 0x546
  canfilterconfig.FilterActivation = CAN_FILTER_ENABLE;
  canfilterconfig.FilterBank = 18;                 // which filter bank to use from the assigned ones
  canfilterconfig.FilterFIFOAssignment = CAN_FILTER_FIFO0;
  canfilterconfig.FilterIdHigh = 0x546 << 5;
  canfilterconfig.FilterIdLow = 0;
  canfilterconfig.FilterMaskIdHigh = 0x546 << 5;
  canfilterconfig.FilterMaskIdLow = 0x0000;
  canfilterconfig.FilterMode = CAN_FILTERMODE_IDMASK;
  canfilterconfig.FilterScale = CAN_FILTERSCALE_32BIT;

  HAL_CAN_ConfigFilter(&hcan2, &canfilterconfig);

  // Filter for 0x556
  canfilterconfig.FilterBank = 19;
  canfilterconfig.FilterIdHigh = 0x556 << 5;
  canfilterconfig.FilterMaskIdHigh = 0x7FF << 5;
  HAL_CAN_ConfigFilter(&hcan2, &canfilterconfig);
#endif
}
/* USER CODE END 4 */

void Error_Handler(void)
{
  __disable_irq();
  while (1)
  {
  }
}
